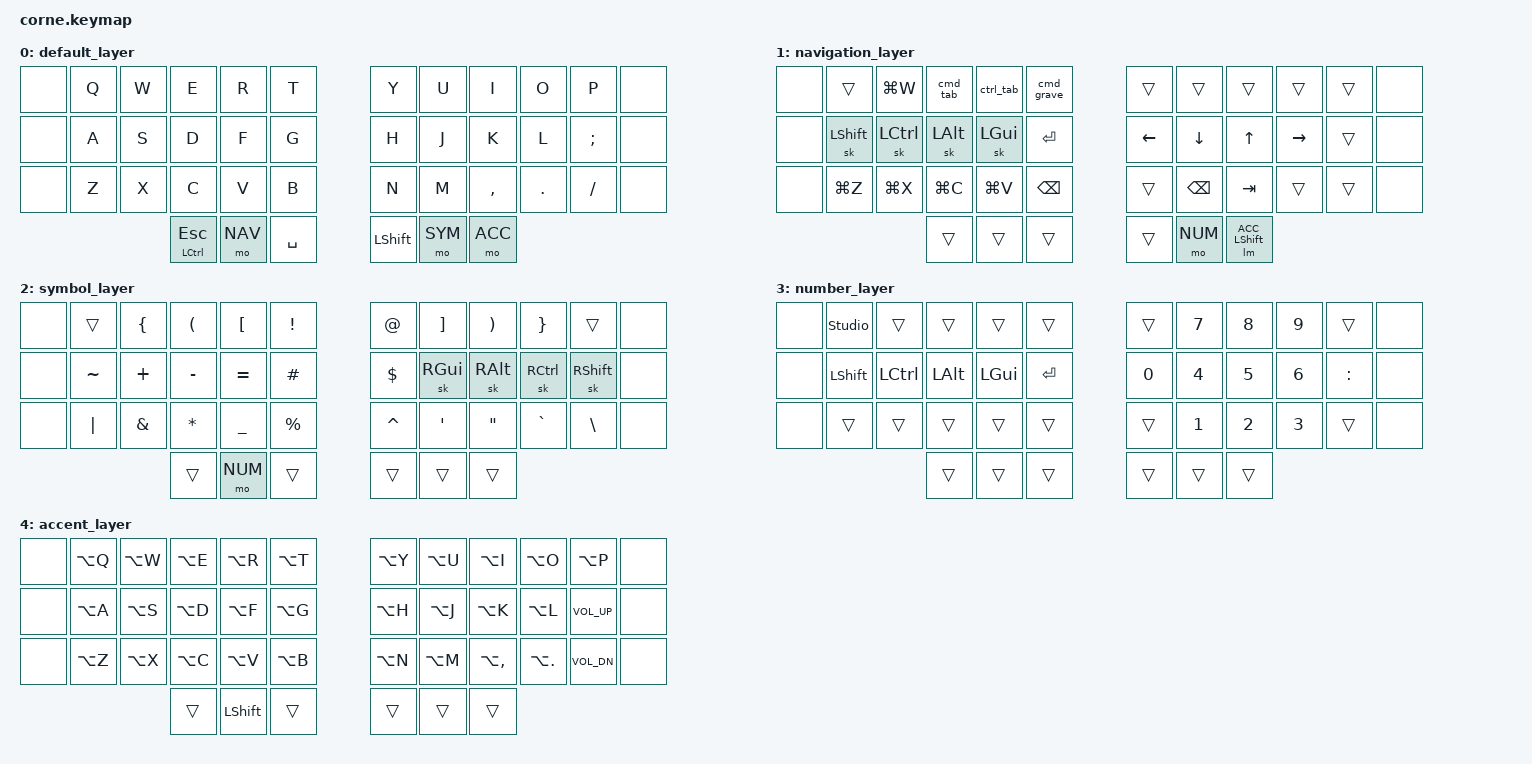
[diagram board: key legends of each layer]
/*
 * Copyright (c) 2020 The ZMK Contributors
 *
 * SPDX-License-Identifier: MIT
 */

#include <behaviors.dtsi>
#include <dt-bindings/zmk/keys.h>
#include <dt-bindings/zmk/bt.h>

#define BASE 0
#define NAV  1
#define SYM  2
#define NUM  3
#define ACC  4

#define MORPH(NAME, MOD, BINDING1, BINDING2) \
    NAME: NAME { \
        compatible = "zmk,behavior-mod-morph"; \
        #binding-cells = <0>; \
        bindings = <BINDING1>, <BINDING2>; \
        mods = <(MOD)>; \
    };

/ {
    behaviors {
        lh: layer_hold {
            compatible = "zmk,behavior-hold-tap";
            #binding-cells = <2>;
            tapping-term-ms = <200>;
            flavor = "hold-preferred";
            bindings = <&mo>, <&kp>;
        };

        cmd_tab: cmd_tab {
            compatible = "zmk,behavior-smart-toggle";
            #binding-cells = <0>;
            bindings = <&kp LGUI>, <&kp TAB>;
            ignored-key-positions = <10 33>;
        };

        cmd_grave: cmd_grave {
            compatible = "zmk,behavior-smart-toggle";
            #binding-cells = <0>;
            bindings = <&kp LGUI>, <&kp GRAVE>;
            ignored-key-positions = <10 33>;
        };

        ctrl_tab: ctrl_tab {
            compatible = "zmk,behavior-smart-toggle";
            #binding-cells = <0>;
            bindings = <&kp LCTRL>, <&kp TAB>;
            ignored-key-positions = <10 33>;
        };

        lm: lm {
            compatible = "zmk,behavior-macro-two-param";
            wait-ms = <0>;
            tap-ms = <0>;
            #binding-cells = <2>;
            bindings
                = <&macro_param_1to1>
                , <&macro_press &mo MACRO_PLACEHOLDER>
                , <&macro_param_2to1>
                , <&macro_press &kp MACRO_PLACEHOLDER>
                , <&macro_pause_for_release>
                , <&macro_param_2to1>
                , <&macro_release &kp MACRO_PLACEHOLDER>
                , <&macro_param_1to1>
                , <&macro_release &mo MACRO_PLACEHOLDER>
                ;
        };

        mo_cut: mo_cut {
            compatible = "zmk,behavior-macro-one-param";
            #binding-cells = <1>;
            wait-ms = <0>;
            tap-ms = <0>;
            bindings
                = <&macro_param_1to1>
                , <&macro_press &mo MACRO_PLACEHOLDER>
                , <&macro_pause_for_release>
                , <&macro_param_1to1>
                , <&macro_release &mo MACRO_PLACEHOLDER>
                , <&macro_tap &kp K_CANCEL>;
        };
    };

    keymap {
        compatible = "zmk,keymap";

        default_layer {
            bindings = <
//╭──────────┬──────────┬──────────┬──────────┬──────────┬──────────╮   ╭──────────┬──────────┬──────────┬──────────┬──────────┬──────────╮
    &none      &kp Q      &kp W      &kp E      &kp R      &kp T          &kp Y      &kp U      &kp I      &kp O      &kp P      &none
//├──────────┼──────────┼──────────┼──────────┼──────────┼──────────┤   ├──────────┼──────────┼──────────┼──────────┼──────────┼──────────┤
    &none      &kp A      &kp S      &kp D      &kp F      &kp G          &kp H      &kp J      &kp K      &kp L      &kp SEMI   &none
//├──────────┼──────────┼──────────┼──────────┼──────────┼──────────┤   ├──────────┼──────────┼──────────┼──────────┼──────────┼──────────┤
    &none      &kp Z      &kp X      &kp C      &kp V      &kp B          &kp N      &kp M      &kp COMMA  &kp DOT    &kp FSLH   &none
//╰──────────┴──────────┴──────────┼──────────┼──────────┼──────────┤   ├──────────┼──────────┼──────────┼──────────┴──────────┴──────────╯
                                     &mt LCTRL ESC &mo NAV &kp SPACE      &kp LSHFT  &mo SYM    &mo ACC
//                                 ╰──────────┴──────────┴──────────╯   ╰──────────┴──────────┴──────────╯
            >;
        };

        navigation_layer {
            bindings = <
//╭──────────┬──────────┬──────────┬──────────┬──────────┬──────────╮   ╭──────────┬──────────┬──────────┬──────────┬──────────┬──────────╮
    &none      &trans     &kp LG(W)  &cmd_tab   &ctrl_tab  &cmd_grave     &trans     &trans     &trans     &trans     &trans     &none
//├──────────┼──────────┼──────────┼──────────┼──────────┼──────────┤   ├──────────┼──────────┼──────────┼──────────┼──────────┼──────────┤
    &none      &sk LSHFT  &sk LCTRL  &sk LALT   &sk LGUI   &kp RET        &kp LEFT   &kp DOWN   &kp UP     &kp RIGHT  &trans     &none
//├──────────┼──────────┼──────────┼──────────┼──────────┼──────────┤   ├──────────┼──────────┼──────────┼──────────┼──────────┼──────────┤
    &none      &kp LG(Z)  &kp LG(X)  &kp LG(C)  &kp LG(V)  &kp BSPC       &trans     &kp BSPC   &kp TAB    &trans     &trans     &none
//╰──────────┴──────────┴──────────┼──────────┼──────────┼──────────┤   ├──────────┼──────────┼──────────┼──────────┴──────────┴──────────╯
                                     &trans     &trans     &trans         &trans     &mo NUM    &lm ACC LSHFT
//                                 ╰──────────┴──────────┴──────────╯   ╰──────────┴──────────┴──────────╯
            >;
        };

        symbol_layer {
            bindings = <
//╭──────────┬──────────┬──────────┬──────────┬──────────┬──────────╮   ╭──────────┬──────────┬──────────┬──────────┬──────────┬──────────╮
    &none      &trans     &kp LBRC   &kp LPAR   &kp LBKT   &kp EXCL       &kp AT     &kp RBKT   &kp RPAR   &kp RBRC   &trans     &none
//├──────────┼──────────┼──────────┼──────────┼──────────┼──────────┤   ├──────────┼──────────┼──────────┼──────────┼──────────┼──────────┤
    &none      &kp TILDE  &kp PLUS   &kp MINUS  &kp EQUAL  &kp HASH       &kp DLLR   &sk RGUI   &sk RALT   &sk RCTRL  &sk RSHFT  &none
//├──────────┼──────────┼──────────┼──────────┼──────────┼──────────┤   ├──────────┼──────────┼──────────┼──────────┼──────────┼──────────┤
    &none      &kp PIPE   &kp AMPS   &kp ASTRK  &kp UNDER  &kp PRCNT      &kp CARET  &kp SQT    &kp DQT    &kp GRAVE  &kp BSLH   &none
//╰──────────┴──────────┴──────────┼──────────┼──────────┼──────────┤   ├──────────┼──────────┼──────────┼──────────┴──────────┴──────────╯
                                     &trans     &mo NUM    &trans         &trans     &trans     &trans
//                                 ╰──────────┴──────────┴──────────╯   ╰──────────┴──────────┴──────────╯
            >;
        };

        number_layer {
            bindings = <
//╭──────────┬──────────┬──────────┬──────────┬──────────┬──────────╮   ╭──────────┬──────────┬──────────┬──────────┬──────────┬──────────╮
    &none      &studio_unlock &trans &trans     &trans     &trans         &trans     &kp N7     &kp N8     &kp N9     &trans     &none
//├──────────┼──────────┼──────────┼──────────┼──────────┼──────────┤   ├──────────┼──────────┼──────────┼──────────┼──────────┼──────────┤
    &none      &kp LSHFT  &kp LCTRL  &kp LALT   &kp LGUI   &kp RET        &kp N0     &kp N4     &kp N5     &kp N6     &kp COLON  &none
//├──────────┼──────────┼──────────┼──────────┼──────────┼──────────┤   ├──────────┼──────────┼──────────┼──────────┼──────────┼──────────┤
    &none      &trans     &trans     &trans     &trans     &trans         &trans     &kp N1     &kp N2     &kp N3     &trans     &none
//╰──────────┴──────────┴──────────┼──────────┼──────────┼──────────┤   ├──────────┼──────────┼──────────┼──────────┴──────────┴──────────╯
                                     &trans     &trans     &trans         &trans     &trans     &trans
//                                 ╰──────────┴──────────┴──────────╯   ╰──────────┴──────────┴──────────╯
            >;
        };

        accent_layer {
            bindings = <
//╭──────────┬──────────┬──────────┬──────────┬──────────┬──────────╮   ╭──────────┬──────────┬──────────┬──────────┬──────────┬──────────╮
    &none      &kp LA(Q)  &kp LA(W)  &kp LA(E)  &kp LA(R)  &kp LA(T)      &kp LA(Y)  &kp LA(U)  &kp LA(I)  &kp LA(O)  &kp LA(P)  &none
//├──────────┼──────────┼──────────┼──────────┼──────────┼──────────┤   ├──────────┼──────────┼──────────┼──────────┼──────────┼──────────┤
    &none      &kp LA(A)  &kp LA(S)  &kp LA(D)  &kp LA(F)  &kp LA(G)      &kp LA(H)  &kp LA(J)  &kp LA(K)  &kp LA(L)  &kp C_VOL_UP &none
//├──────────┼──────────┼──────────┼──────────┼──────────┼──────────┤   ├──────────┼──────────┼──────────┼──────────┼──────────┼──────────┤
    &none      &kp LA(Z)  &kp LA(X)  &kp LA(C)  &kp LA(V)  &kp LA(B)      &kp LA(N)  &kp LA(M)  &kp LA(COMMA) &kp LA(DOT) &kp C_VOL_DN &none
//╰──────────┴──────────┴──────────┼──────────┼──────────┼──────────┤   ├──────────┼──────────┼──────────┼──────────┴──────────┴──────────╯
                                     &trans     &kp LSHFT  &trans         &trans     &trans     &trans
//                                 ╰──────────┴──────────┴──────────╯   ╰──────────┴──────────┴──────────╯
            >;
        };
    };
};
